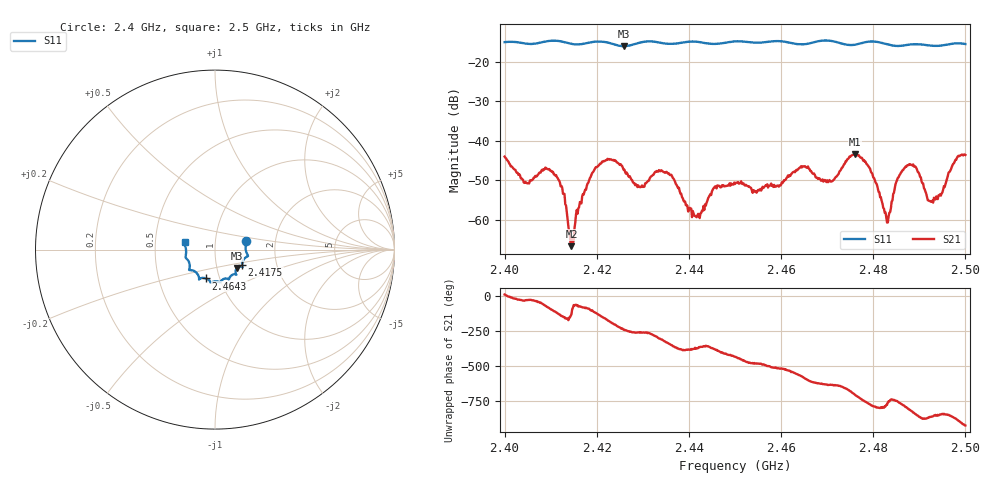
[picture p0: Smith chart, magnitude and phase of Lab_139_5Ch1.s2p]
# Hz S RI R 50
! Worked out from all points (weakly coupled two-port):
!   601 points, 2.4 GHz to 2.5 GHz, reference 50 ohm
!   highest |S21| = -43.36 dB at 2.476 GHz (marker M1); lowest = -66.8 dB at 2.4145 GHz (marker M2)
!   lowest |S11| = -15.9 dB at 2.4258 GHz (marker M3), VSWR 1.38, Z = 62.3 - j13.2 ohm
!   |S11| at or under -10 dB: start of sweep to end of sweep
!   S12 and S22 are empty: the file has one direction only
!   S11 on the Smith chart (normalised r, x): 2.4 GHz: 1.41, +0.14; 2.4175 GHz: 1.33, -0.23; 2.4643 GHz: 0.86, -0.28; 2.5 GHz: 0.72, +0.06
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2.4e9  0.1731 0.0485  0.00618 0.00126  0 0  0 0
2.404667e9  0.1708 0.0189  0.00259 -0.00141  0 0  0 0
2.411e9  0.1838 -0.0355  -0.00131 -0.00338  0 0  0 0
2.412833e9  0.1762 -0.0402  -0.00185 -0.00106  0 0  0 0
2.4145e9  0.1633 -0.0502  -0.000296 -0.00035  0 0  0 0
2.416667e9  0.1523 -0.0741  0.00037 -0.00156  0 0  0 0
2.4175e9  0.1512 -0.0836  0.000179 -0.0024  0 0  0 0
2.421667e9  0.1531 -0.0961  -0.00509 -0.00212  0 0  0 0
2.425833e9  0.1219 -0.1028  -0.00211 0.00373  0 0  0 0
2.429667e9  0.1167 -0.1355  -0.00047 0.0026  0 0  0 0
2.433333e9  0.1137 -0.1373  0.00194 0.00357  0 0  0 0
2.441833e9  0.075 -0.1652  0.00109 -0.000234  0 0  0 0
2.445667e9  0.0505 -0.1628  0.00247 -0.000932  0 0  0 0
2.45e9  0.0286 -0.1815  0.000795 -0.00272  0 0  0 0
2.464333e9  -0.0498 -0.1606  -0.00407 0.00245  0 0  0 0
2.466667e9  -0.0762 -0.1587  -0.0012 0.00378  0 0  0 0
2.471167e9  -0.0881 -0.1624  0.000177 0.00309  0 0  0 0
2.476e9  -0.1163 -0.1188  0.00654 0.00185  0 0  0 0
2.483333e9  -0.1404 -0.0899  0.000936 -0.00058  0 0  0 0
2.487333e9  -0.157 -0.0528  0.00105 -0.00474  0 0  0 0
2.4925e9  -0.161 -0.0203  -0.00135 -0.00102  0 0  0 0
2.5e9  -0.1644 0.0433  -0.00603 0.00271  0 0  0 0
